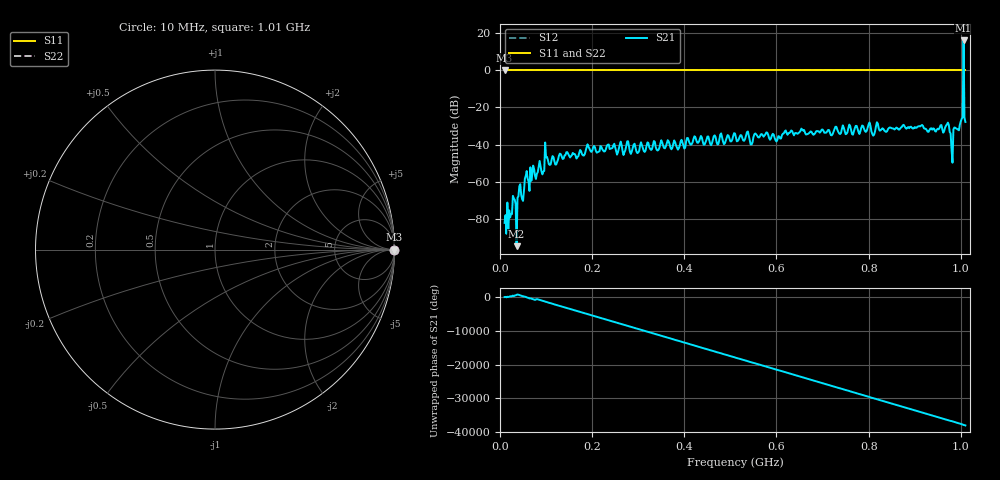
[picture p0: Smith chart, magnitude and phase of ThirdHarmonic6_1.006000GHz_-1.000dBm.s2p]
! 8/16/2025 8:12:43 AM
! C:\ANRITSUVNA\TEMP\TEMP.S2P
! CHANNEL.1
! TR.MEASUREMENT
! RAW.DATA
! RF.CORRECTION.OFF
! AVERAGING.OFF
! IF.BANDWIDTH: 5KHZ
! SWEEPTYPE:  FREQ.SWEEP(Linear)
! Reference Plane Port Info
! PORT:  PORT1  PORT2
! DISTANCE:  0  m  0  m
! TIME:  0  s  0  s
! PHASE.OFFSET:  0  deg.  0  deg.
! LOSS:  0  dB  0  dB
! REF.LOSS:  0  dB  0  dB
! REF.FREQ:  0  Hz  0  Hz
! Power Info
! POWER:  -20  dBm  -20  dBm
! EFF.POWER:  -20  dBm  -20  dBm
! SOURCE.ATTEN:  0  dB  0  dB
! TEST.ATTEN:  0  dB  0  dB
# GHZ S RI R 50.0
! FREQ.GHZ  S11RE  S11IM  S21RE  S21IM  S12RE  S12IM  S22RE  S22IM
!; PortSelection: Port_12
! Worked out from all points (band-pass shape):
!   501 points, 10 MHz to 1.01 GHz, reference 50 ohm
!   highest |S21| = 15.96 dB at 1.006 GHz (marker M1); lowest = -94.5 dB at 36 MHz (marker M2)
!   |S21| within 3 dB of the highest: 1.005855 GHz to 1.006145 GHz (290.1 kHz wide, 0.0288 % of centre)
!   lowest |S11| = 0.0 dB at 10 MHz (marker M3)
!   |S11| at or under -10 dB: nowhere
!   |S22| runs from 0.0 to 0.0 dB; largest |S21 - S12| = 7.3
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0.01  1 0  -1.12e-05 7.85e-05  1 0  1 0
0.036  1 0  1.45e-05 1.19e-05  1 0  1 0
0.042  1 0  0.000743 -0.000193  1 0  1 0
0.05  1 0  0.000275 -0.000138  1 0  1 0
0.058  1 0  0.00196 4.9e-05  1 0  1 0
0.092  1 0  0.000975 0.00126  1 0  1 0
0.102  1 0  0.00454 0.00114  1 0  1 0
0.122  1 0  0.00091 -0.00279  1 0  1 0
0.178  1 0  -0.00525 0.00175  1 0  1 0
0.344  1 0  0.00618 -0.00386  1 0  1 0
0.51  1 0  -0.00592 0.0189  1 0  1 0
0.536  1 0  -0.0201 0.00833  1 0  1 0
0.546  1 0  -0.00383 0.00934  1 0  1 0
0.554  1 0  -0.0179 0.00899  1 0  1 0
0.678  1 0  -0.0198 0.000342  1 0  1 0
0.844  1 0  0.0238 -0.0146  1 0  1 0
0.97  1 0  0.00357 -0.0349  1 0  1 0
0.98  1 0  0.000304 -0.00724  1 0  1 0
1  1 0  -0.0385 0.0176  1 0  1 0
1.002  1 0  0.0196 0.0454  1 0  1 0
1.006  1 0  -6.266 0.4507  1 0  1 0
1.01  1 0  0.031 0.0262  1 0  1 0
